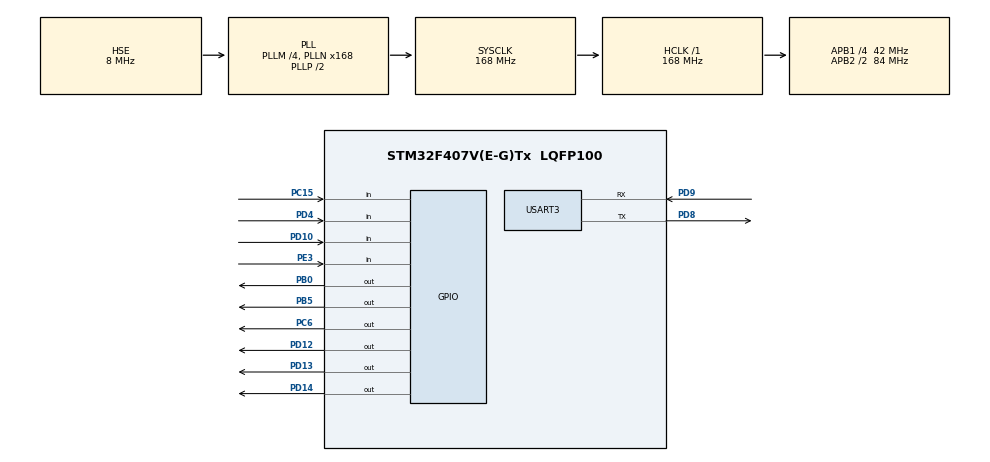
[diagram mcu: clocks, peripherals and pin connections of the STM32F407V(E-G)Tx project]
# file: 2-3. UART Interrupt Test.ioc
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Mcu.Family=STM32F4
Mcu.Name=STM32F407V(E-G)Tx
Mcu.Package=LQFP100
NVIC.PriorityGroup=NVIC_PRIORITYGROUP_4
NVIC.USART3_IRQn=true\:0\:0\:false\:true\:true\:1\:true
PB0.Signal=GPIO_Output
PB5.Signal=GPIO_Output
PC15-OSC32_OUT.Signal=GPIO_Input
PC6.Signal=GPIO_Output
PD10.Signal=GPIO_Input
PD12.Signal=GPIO_Output
PD13.Signal=GPIO_Output
PD14.Signal=GPIO_Output
PD4.Signal=GPIO_Input
PD8.Mode=Asynchronous
PD8.Signal=USART3_TX
PD9.Mode=Asynchronous
PD9.Signal=USART3_RX
PE3.Signal=GPIO_Input
PH0-OSC_IN.Mode=HSE-External-Oscillator
PH0-OSC_IN.Signal=RCC_OSC_IN
PH1-OSC_OUT.Mode=HSE-External-Oscillator
PH1-OSC_OUT.Signal=RCC_OSC_OUT
ProjectManager.HeapSize=0x200
ProjectManager.StackSize=0x400
ProjectManager.TargetToolchain=TrueSTUDIO
RCC.48MHZClocksFreq_Value=84000000
RCC.AHBFreq_Value=168000000
RCC.APB1CLKDivider=RCC_HCLK_DIV4
RCC.APB1Freq_Value=42000000
RCC.APB1TimFreq_Value=84000000
RCC.APB2CLKDivider=RCC_HCLK_DIV2
RCC.APB2Freq_Value=84000000
RCC.APB2TimFreq_Value=168000000
RCC.CortexFreq_Value=168000000
RCC.HCLKFreq_Value=168000000
RCC.HSE_VALUE=8000000
RCC.HSI_VALUE=16000000
RCC.LSE_VALUE=32768
RCC.PLLM=4
RCC.PLLN=168
RCC.PLLSourceVirtual=RCC_PLLSOURCE_HSE
RCC.SYSCLKFreq_VALUE=168000000
RCC.SYSCLKSource=RCC_SYSCLKSOURCE_PLLCLK
RCC.VCOOutputFreq_Value=336000000
USART3.VirtualMode=VM_ASYNC
board=custom

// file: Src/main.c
/**
  ******************************************************************************
  * @file           : main.c
  * @brief          : Main program body
  ******************************************************************************
  ** This notice applies to any and all portions of this file
  * that are not between comment pairs USER CODE BEGIN and
  * USER CODE END. Other portions of this file, whether
  * inserted by the user or by software development tools
  * are owned by their respective copyright owners.
  *
  * COPYRIGHT(c) 2018 STMicroelectronics
  *
  * Redistribution and use in source and binary forms, with or without modification,
  * are permitted provided that the following conditions are met:
  *   1. Redistributions of source code must retain the above copyright notice,
  *      this list of conditions and the following disclaimer.
  *   2. Redistributions in binary form must reproduce the above copyright notice,
  *      this list of conditions and the following disclaimer in the documentation
  *      and/or other materials provided with the distribution.
  *   3. Neither the name of STMicroelectronics nor the names of its contributors
  *      may be used to endorse or promote products derived from this software
  *      without specific prior written permission.
  *
  * THIS SOFTWARE IS PROVIDED BY THE COPYRIGHT HOLDERS AND CONTRIBUTORS "AS IS"
  * AND ANY EXPRESS OR IMPLIED WARRANTIES, INCLUDING, BUT NOT LIMITED TO, THE
  * IMPLIED WARRANTIES OF MERCHANTABILITY AND FITNESS FOR A PARTICULAR PURPOSE ARE
  * DISCLAIMED. IN NO EVENT SHALL THE COPYRIGHT HOLDER OR CONTRIBUTORS BE LIABLE
  * FOR ANY DIRECT, INDIRECT, INCIDENTAL, SPECIAL, EXEMPLARY, OR CONSEQUENTIAL
  * DAMAGES (INCLUDING, BUT NOT LIMITED TO, PROCUREMENT OF SUBSTITUTE GOODS OR
  * SERVICES; LOSS OF USE, DATA, OR PROFITS; OR BUSINESS INTERRUPTION) HOWEVER
  * CAUSED AND ON ANY THEORY OF LIABILITY, WHETHER IN CONTRACT, STRICT LIABILITY,
  * OR TORT (INCLUDING NEGLIGENCE OR OTHERWISE) ARISING IN ANY WAY OUT OF THE USE
  * OF THIS SOFTWARE, EVEN IF ADVISED OF THE POSSIBILITY OF SUCH DAMAGE.
  *
  ******************************************************************************
  */
#include "main.h"
#include "stm32f4xx_hal.h"
#include "usart.h"
#include "gpio.h"

/* USER CODE BEGIN Includes */
#include <stdio.h>
/* USER CODE END Includes */

/* USER CODE BEGIN PV */
/* Private variables ---------------------------------------------------------*/
uint8_t rx3_data;
/* USER CODE END PV */

void SystemClock_Config(void);
static void MX_NVIC_Init(void);

/* USER CODE BEGIN PFP */
/* Private function prototypes -----------------------------------------------*/
int _write(int file, char* p, int len)
{
	HAL_UART_Transmit(&huart3, p, len, 10);
	return len;
}
/* USER CODE END PFP */

int main(void)
{

  /* MCU Configuration----------------------------------------------------------*/

  /* Reset of all peripherals, Initializes the Flash interface and the Systick. */
  HAL_Init();

  /* Configure the system clock */
  SystemClock_Config();

  /* Initialize all configured peripherals */
  MX_GPIO_Init();
  MX_USART3_UART_Init();

  /* Initialize interrupts */
  MX_NVIC_Init();
  /* USER CODE BEGIN 2 */
	HAL_GPIO_WritePin(GPIOC, GPIO_PIN_6, GPIO_PIN_SET);
	HAL_GPIO_WritePin(GPIOB, GPIO_PIN_0, GPIO_PIN_SET);
	HAL_GPIO_WritePin(GPIOB, GPIO_PIN_5, GPIO_PIN_SET);

	HAL_GPIO_WritePin(GPIOD, GPIO_PIN_12, GPIO_PIN_SET);
	HAL_GPIO_WritePin(GPIOD, GPIO_PIN_13, GPIO_PIN_SET);
	HAL_GPIO_WritePin(GPIOD, GPIO_PIN_14, GPIO_PIN_SET);

	HAL_UART_Receive_IT(&huart3, &rx3_data, 1);
  /* USER CODE END 2 */

  /* Infinite loop */
  /* USER CODE BEGIN WHILE */
	uint8_t a = 0;
	float f = 1.234;
  while (1)
  {

  /* USER CODE END WHILE */

  }

}

void SystemClock_Config(void)
{

  RCC_OscInitTypeDef RCC_OscInitStruct;
  RCC_ClkInitTypeDef RCC_ClkInitStruct;

    /**Configure the main internal regulator output voltage
    */
  __HAL_RCC_PWR_CLK_ENABLE();

  __HAL_PWR_VOLTAGESCALING_CONFIG(PWR_REGULATOR_VOLTAGE_SCALE1);

    /**Initializes the CPU, AHB and APB busses clocks
    */
  RCC_OscInitStruct.OscillatorType = RCC_OSCILLATORTYPE_HSE;
  RCC_OscInitStruct.HSEState = RCC_HSE_ON;
  RCC_OscInitStruct.PLL.PLLState = RCC_PLL_ON;
  RCC_OscInitStruct.PLL.PLLSource = RCC_PLLSOURCE_HSE;
  RCC_OscInitStruct.PLL.PLLM = 4;
  RCC_OscInitStruct.PLL.PLLN = 168;
  RCC_OscInitStruct.PLL.PLLP = RCC_PLLP_DIV2;
  RCC_OscInitStruct.PLL.PLLQ = 4;
  if (HAL_RCC_OscConfig(&RCC_OscInitStruct) != HAL_OK)
  {
    _Error_Handler(__FILE__, __LINE__);
  }

    /**Initializes the CPU, AHB and APB busses clocks
    */
  RCC_ClkInitStruct.ClockType = RCC_CLOCKTYPE_HCLK|RCC_CLOCKTYPE_SYSCLK
                              |RCC_CLOCKTYPE_PCLK1|RCC_CLOCKTYPE_PCLK2;
  RCC_ClkInitStruct.SYSCLKSource = RCC_SYSCLKSOURCE_PLLCLK;
  RCC_ClkInitStruct.AHBCLKDivider = RCC_SYSCLK_DIV1;
  RCC_ClkInitStruct.APB1CLKDivider = RCC_HCLK_DIV4;
  RCC_ClkInitStruct.APB2CLKDivider = RCC_HCLK_DIV2;

  if (HAL_RCC_ClockConfig(&RCC_ClkInitStruct, FLASH_LATENCY_5) != HAL_OK)
  {
    _Error_Handler(__FILE__, __LINE__);
  }

    /**Configure the Systick interrupt time
    */
  HAL_SYSTICK_Config(HAL_RCC_GetHCLKFreq()/1000);

    /**Configure the Systick
    */
  HAL_SYSTICK_CLKSourceConfig(SYSTICK_CLKSOURCE_HCLK);

  /* SysTick_IRQn interrupt configuration */
  HAL_NVIC_SetPriority(SysTick_IRQn, 0, 0);
}

/**
  * @brief NVIC Configuration.
  * @retval None
  */
static void MX_NVIC_Init(void)
{
  /* USART3_IRQn interrupt configuration */
  HAL_NVIC_SetPriority(USART3_IRQn, 0, 0);
  HAL_NVIC_EnableIRQ(USART3_IRQn);
}

/* USER CODE BEGIN 4 */
void HAL_UART_RxCpltCallback(UART_HandleTypeDef *huart)
{
	if(huart->Instance == USART3)
	{
		HAL_UART_Receive_IT(&huart3, &rx3_data, 1);
		HAL_UART_Transmit(&huart3, &rx3_data, 1, 10);
	}
}
/* USER CODE END 4 */

void _Error_Handler(char *file, int line)
{
  while(1)
  {
  }
}

/************************ (C) COPYRIGHT STMicroelectronics *****END OF FILE****/
